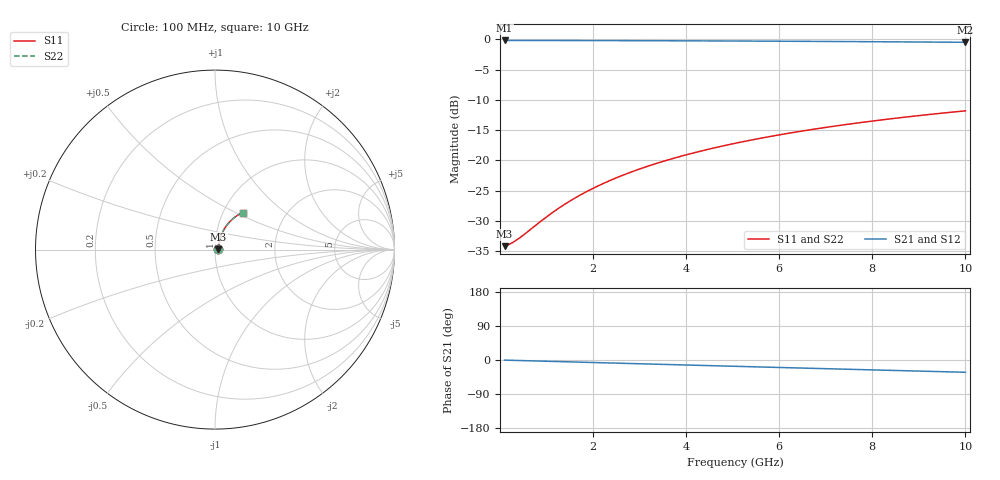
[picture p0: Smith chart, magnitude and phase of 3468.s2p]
# Hz S RI R 50.00
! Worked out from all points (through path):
!   100 points, 100 MHz to 10 GHz, reference 50 ohm
!   highest |S21| = -0.17 dB at 100 MHz (marker M1); lowest = -0.5 dB at 10 GHz (marker M2)
!   group delay of S21, straight-line fit = 9 ps
!   lowest |S11| = -34.2 dB at 100 MHz (marker M3), VSWR 1.04, Z = 52 + j0.276 ohm
!   |S11| at or under -10 dB: start of sweep to end of sweep
!   |S22| runs from -34.2 to -11.8 dB; largest |S21 - S12| = 0
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1e8  0.0194 0.00266  0.9806 -0.00567  0.9806 -0.00567  0.0194 0.00266
2e8  0.0195 0.00531  0.9805 -0.0113  0.9805 -0.0113  0.0195 0.00531
3e8  0.0197 0.00797  0.9803 -0.017  0.9803 -0.017  0.0197 0.00797
4e8  0.0199 0.0106  0.98 -0.0227  0.98 -0.0227  0.0199 0.0106
9e8  0.0211 0.0238  0.9785 -0.0509  0.9785 -0.0509  0.0211 0.0238
1.2e9  0.0222 0.0317  0.9771 -0.0678  0.9771 -0.0678  0.0222 0.0317
1.5e9  0.0235 0.0396  0.9754 -0.0847  0.9754 -0.0847  0.0235 0.0396
1.8e9  0.0251 0.0473  0.9733 -0.1015  0.9733 -0.1015  0.0251 0.0473
2.1e9  0.027 0.0551  0.9709 -0.1183  0.9709 -0.1183  0.027 0.0551
2.5e9  0.0299 0.0652  0.9672 -0.1405  0.9672 -0.1405  0.0299 0.0652
2.9e9  0.0332 0.0752  0.9629 -0.1625  0.9629 -0.1625  0.0332 0.0752
3.4e9  0.038 0.0875  0.9566 -0.1898  0.9566 -0.1898  0.038 0.0875
3.8e9  0.0423 0.0971  0.951 -0.2115  0.951 -0.2115  0.0423 0.0971
4.2e9  0.0471 0.1064  0.9447 -0.2328  0.9447 -0.2328  0.0471 0.1064
4.6e9  0.0522 0.1155  0.9379 -0.254  0.9379 -0.254  0.0522 0.1155
5.1e9  0.0592 0.1265  0.9287 -0.28  0.9287 -0.28  0.0592 0.1265
5.9e9  0.0716 0.1431  0.9122 -0.3207  0.9122 -0.3207  0.0716 0.1431
6.7e9  0.0854 0.1584  0.8937 -0.3601  0.8937 -0.3601  0.0854 0.1584
7.5e9  0.1004 0.1723  0.8734 -0.3981  0.8734 -0.3981  0.1004 0.1723
8.4e9  0.1185 0.1862  0.8485 -0.439  0.8485 -0.439  0.1185 0.1862
9.2e9  0.1356 0.1969  0.8247 -0.4738  0.8247 -0.4738  0.1356 0.1969
1e10  0.1534 0.2059  0.7996 -0.5068  0.7996 -0.5068  0.1534 0.2059
